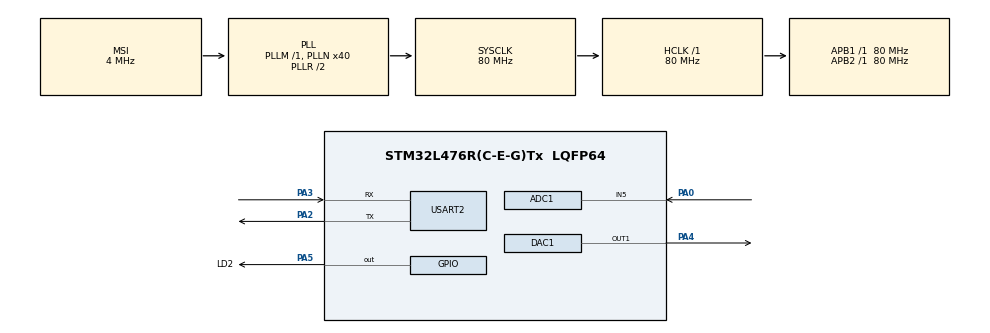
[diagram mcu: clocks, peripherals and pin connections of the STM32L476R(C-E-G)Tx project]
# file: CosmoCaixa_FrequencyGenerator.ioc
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ADC1.Channel-0\#ChannelRegularConversion=ADC_CHANNEL_5
ADC1.ContinuousConvMode=ENABLE
ADC1.DMAContinuousRequests=ENABLE
ADC1.NbrOfConversionFlag=1
ADC1.OffsetNumber-0\#ChannelRegularConversion=ADC_OFFSET_NONE
ADC1.Rank-0\#ChannelRegularConversion=1
ADC1.SamplingTime-0\#ChannelRegularConversion=ADC_SAMPLETIME_2CYCLES_5
ADC1.master=1
DAC1.DAC_SampleAndHold-DAC_OUT1=DAC_SAMPLEANDHOLD_DISABLE
DAC1.DAC_Trigger-DAC_OUT1=DAC_TRIGGER_T2_TRGO
DAC1.DAC_UserTrimming-DAC_OUT1=DAC_TRIMMING_FACTORY
Dma.ADC1.1.Direction=DMA_PERIPH_TO_MEMORY
Dma.ADC1.1.Instance=DMA1_Channel1
Dma.ADC1.1.MemDataAlignment=DMA_MDATAALIGN_WORD
Dma.ADC1.1.MemInc=DMA_MINC_ENABLE
Dma.ADC1.1.Mode=DMA_CIRCULAR
Dma.ADC1.1.PeriphDataAlignment=DMA_PDATAALIGN_WORD
Dma.ADC1.1.PeriphInc=DMA_PINC_DISABLE
Dma.ADC1.1.Priority=DMA_PRIORITY_LOW
Dma.DAC_CH1.0.Direction=DMA_MEMORY_TO_PERIPH
Dma.DAC_CH1.0.Instance=DMA1_Channel3
Dma.DAC_CH1.0.MemDataAlignment=DMA_MDATAALIGN_WORD
Dma.DAC_CH1.0.MemInc=DMA_MINC_ENABLE
Dma.DAC_CH1.0.Mode=DMA_CIRCULAR
Dma.DAC_CH1.0.PeriphDataAlignment=DMA_PDATAALIGN_WORD
Dma.DAC_CH1.0.PeriphInc=DMA_PINC_DISABLE
Dma.DAC_CH1.0.Priority=DMA_PRIORITY_LOW
Dma.Request0=DAC_CH1
Dma.Request1=ADC1
Mcu.Family=STM32L4
Mcu.Name=STM32L476R(C-E-G)Tx
Mcu.Package=LQFP64
NVIC.DMA1_Channel1_IRQn=true\:0\:0\:false\:false\:true\:false\:true
NVIC.DMA1_Channel3_IRQn=true\:0\:0\:false\:false\:true\:false\:true
NVIC.PriorityGroup=NVIC_PRIORITYGROUP_4
NVIC.TIM2_IRQn=true\:0\:0\:false\:false\:true\:true\:true
PA0.Signal=ADCx_IN5
PA2.Mode=Asynchronous
PA2.Signal=USART2_TX
PA3.Mode=Asynchronous
PA3.Signal=USART2_RX
PA4.Signal=COMP_DAC11_group
PA5.GPIO_Label=LD2
PA5.Signal=GPIO_Output
ProjectManager.HeapSize=0x200
ProjectManager.StackSize=0x400
ProjectManager.TargetToolchain=STM32CubeIDE
RCC.ADCFreq_Value=32000000
RCC.AHBFreq_Value=80000000
RCC.APB1Freq_Value=80000000
RCC.APB1TimFreq_Value=80000000
RCC.APB2Freq_Value=80000000
RCC.APB2TimFreq_Value=80000000
RCC.CortexFreq_Value=80000000
RCC.HCLKFreq_Value=80000000
RCC.HSE_VALUE=8000000
RCC.HSI_VALUE=16000000
RCC.LSE_VALUE=32768
RCC.MSI_VALUE=4000000
RCC.PLLN=40
RCC.PLLSAI1N=16
RCC.SYSCLKFreq_VALUE=80000000
RCC.SYSCLKSource=RCC_SYSCLKSOURCE_PLLCLK
RCC.USBFreq_Value=32000000
RCC.VCOOutputFreq_Value=160000000
SH.ADCx_IN5.0=ADC1_IN5,IN5-Single-Ended
SH.COMP_DAC11_group.0=DAC1_OUT1,DAC_OUT1
TIM2.AutoReloadPreload=TIM_AUTORELOAD_PRELOAD_DISABLE
TIM2.Period=10000-1
TIM2.Prescaler=10-1
TIM2.TIM_MasterOutputTrigger=TIM_TRGO_UPDATE
USART2.VirtualMode-Asynchronous=VM_ASYNC
VP_TIM2_VS_ClockSourceINT.Mode=Internal
board=custom

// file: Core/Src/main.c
/* USER CODE BEGIN Header */
/**
  ******************************************************************************
  * @file           : main.c
  * @brief          : Main program body
  ******************************************************************************
  * @attention
  *
  * <h2><center>&copy; Copyright (c) 2021 STMicroelectronics.
  * All rights reserved.</center></h2>
  *
  * This software component is licensed by ST under BSD 3-Clause license,
  * the "License"; You may not use this file except in compliance with the
  * License. You may obtain a copy of the License at:
  *                        opensource.org/licenses/BSD-3-Clause
  *
  ******************************************************************************
  */
/* USER CODE END Header */
#include "main.h"

/* USER CODE BEGIN Includes */
#include "math.h"
#include  <errno.h>
#include  <sys/unistd.h>
/* USER CODE END Includes */

/* USER CODE BEGIN PD */

#define STEADY_OFFSET		2

#define N_SAMPLES 			128

#define ADC_RES 			4096
#define ADC_BUF_LEN 		64
#define ADC_BUF_HALF_LEN	ADC_BUF_LEN / 2

#define MIN_FREQ			1		//1 Hz
#define MAX_FREQ			30		//30 Hz

#define LOW_LEVEL			192		//100mV
#define HIGH_LEVEL			3170	//9.9 Volts

/* USER CODE END PD */

ADC_HandleTypeDef hadc1;
DMA_HandleTypeDef hdma_adc1;

DAC_HandleTypeDef hdac1;
DMA_HandleTypeDef hdma_dac_ch1;

TIM_HandleTypeDef htim2;

UART_HandleTypeDef huart2;

/* USER CODE BEGIN PV */

uint32_t adc_buf[ADC_BUF_LEN];
uint32_t sinewave[N_SAMPLES];
HAL_StatusTypeDef ret;

volatile uint8_t ADC_isHalfCplt = 0;
volatile uint8_t ADC_isCplt = 0;

/* USER CODE END PV */

void SystemClock_Config(void);
static void MX_GPIO_Init(void);
static void MX_DMA_Init(void);
static void MX_DAC1_Init(void);
static void MX_TIM2_Init(void);
static void MX_ADC1_Init(void);
static void MX_USART2_UART_Init(void);
/* USER CODE BEGIN PFP */
float ADC_map(uint32_t x, uint32_t in_min, uint32_t in_max, uint32_t out_min, uint32_t out_max);
uint32_t average(uint32_t *arr, uint32_t N);
void compute_sinewave(void);
uint8_t steady_signal(uint32_t sample);
/* USER CODE END PFP */

/* USER CODE BEGIN 0 */
void compute_sinewave(void){
	for (int i=0; i<N_SAMPLES; i++){
		sinewave[i] = ((sin(i*2*M_PI/N_SAMPLES) + 1)*(4000/2));
	}
}

float ADC_map(uint32_t x, uint32_t in_min, uint32_t in_max, uint32_t out_min, uint32_t out_max) {
	float in_min_f = (float)in_min;
	float in_max_f = (float)in_max;
	float out_min_f = (float)out_min;
	float out_max_f = (float)out_max;
	float res = 0;

	res = (x-in_min_f)*(out_max_f-out_min_f)/(in_max_f-in_min_f) + out_min_f;

	return res;
  //return (uint32_t)(x - in_min) * (out_max - out_min) / (in_max - in_min) + out_min;
}

void compute_ADC_map(uint32_t *arr){

	float freq,tim_arr;

	for(int i=0; i < LOW_LEVEL; i++){
		freq = MIN_FREQ;
		tim_arr = 8000000/(N_SAMPLES*freq);
		arr[(ADC_RES-1)-i] = (uint32_t)tim_arr;
	}

	for(int i=LOW_LEVEL; i < HIGH_LEVEL; i++){
		freq = ADC_map(i, LOW_LEVEL, HIGH_LEVEL, MIN_FREQ, MAX_FREQ);
		tim_arr = 8000000/(N_SAMPLES*freq);
		arr[(ADC_RES-1)-i] = (uint32_t)tim_arr;
	}

	for(int i=HIGH_LEVEL; i < ADC_RES; i++){
		freq = MAX_FREQ;
		tim_arr = 8000000/(N_SAMPLES*freq);
		arr[(ADC_RES-1)-i] = (uint32_t)tim_arr;
	}
}

uint32_t average(uint32_t *arr, uint32_t N){

	int sum = 0;
	for(int i=0; i<N; i++){
		sum = sum + arr[i];
	}

	return sum/N;
}

uint8_t steady_signal(uint32_t sample){

	static uint32_t last_sample = 0;

	if(sample <= last_sample + STEADY_OFFSET && sample >= last_sample - STEADY_OFFSET){
		last_sample = sample;
		return 1;
	}else{
		last_sample = sample;
		return 0;
	}
}

/* USER CODE END 0 */

int main(void)
{
  /* USER CODE BEGIN 1 */

  uint32_t ADC_meanSample 		= 0;
  uint32_t ADC_rawSample		= 0;
  uint32_t ADC_auxBuf[ADC_BUF_HALF_LEN];
  uint32_t wave_period 		= 0;
  uint32_t last_wave_period = 0;

  uint32_t ADC_map[ADC_RES];

  uint32_t len = 0;

  int TIM_isStopped = 0;
  int TIM_onHighFreq = 0;

  int i = 0;
  /* USER CODE END 1 */

  /* MCU Configuration--------------------------------------------------------*/

  /* Reset of all peripherals, Initializes the Flash interface and the Systick. */
  HAL_Init();

  /* Configure the system clock */
  SystemClock_Config();

  /* Initialize all configured peripherals */
  MX_GPIO_Init();
  MX_DMA_Init();
  MX_DAC1_Init();
  MX_TIM2_Init();
  MX_ADC1_Init();
  MX_USART2_UART_Init();
  /* USER CODE BEGIN 2 */
  HAL_ADCEx_Calibration_Start(&hadc1,ADC_SINGLE_ENDED);
  HAL_ADC_Start_DMA(&hadc1, (uint32_t*)adc_buf, ADC_BUF_LEN);
  HAL_TIM_Base_Start(&htim2);

  compute_sinewave();
  compute_ADC_map(ADC_map);

  HAL_DAC_Start_DMA(&hdac1, DAC1_CHANNEL_1, sinewave, N_SAMPLES, DAC_ALIGN_12B_R);

  HAL_Delay(10);

  /* USER CODE END 2 */

  /* Infinite loop */
  /* USER CODE BEGIN WHILE */
  while(1){

	  /*
	   * 	COMPUTE MEAN OF ADC SAMPLES
	   */

	  if(ADC_isHalfCplt){

		  for(i=0; i<ADC_BUF_HALF_LEN; i++){
			  ADC_auxBuf[i] = adc_buf[i];
		  }
		  ADC_meanSample = average(ADC_auxBuf,ADC_BUF_HALF_LEN);
		  ADC_isHalfCplt = 0;
	  }

	  if(ADC_isCplt){

		  for(i=0; i<ADC_BUF_HALF_LEN; i++){
			  ADC_auxBuf[i] = adc_buf[ADC_BUF_HALF_LEN + i];
		  }
		  ADC_meanSample = average(ADC_auxBuf,ADC_BUF_HALF_LEN);
		  ADC_isCplt = 0;
	  }

	  /*
	   * 	CONVERT SAMPLE TO PERIOD
	   */

	  if(ADC_meanSample > LOW_LEVEL){

		  //Check if we come from a '0 Hz state'
		  if(TIM_isStopped){
			  HAL_DAC_Start_DMA(&hdac1, DAC1_CHANNEL_1, sinewave, N_SAMPLES, DAC_ALIGN_12B_R);
			  TIM_isStopped = 0;
		  }

		  //Convert Sample to Period Value
		  wave_period = ADC_map[ADC_RES-ADC_meanSample];
#ifdef PRINT_DEBUG
		  printf("ADC: %ld\tPERIOD: %ld\r\n",ADC_meanSample,wave_period);
#endif
		  //Change Timer Period
		  if(!steady_signal(ADC_meanSample)){
			  htim2.Instance->ARR = (uint32_t)(wave_period - 1);
			  htim2.Instance->EGR = TIM_EGR_UG;
		  }

	  }else if(ADC_meanSample <= LOW_LEVEL && TIM_isStopped == 0){

		  //Disable Timer (0Hz)
		  HAL_DAC_Stop_DMA(&hdac1, DAC1_CHANNEL_1);
		  TIM_isStopped = 1;
	  }

	HAL_Delay(5);

    /* USER CODE END WHILE */

  }
}

void SystemClock_Config(void)
{
  RCC_OscInitTypeDef RCC_OscInitStruct = {0};
  RCC_ClkInitTypeDef RCC_ClkInitStruct = {0};

  /** Configure the main internal regulator output voltage
  */
  if (HAL_PWREx_ControlVoltageScaling(PWR_REGULATOR_VOLTAGE_SCALE1) != HAL_OK)
  {
    Error_Handler();
  }
  /** Initializes the RCC Oscillators according to the specified parameters
  * in the RCC_OscInitTypeDef structure.
  */
  RCC_OscInitStruct.OscillatorType = RCC_OSCILLATORTYPE_MSI;
  RCC_OscInitStruct.MSIState = RCC_MSI_ON;
  RCC_OscInitStruct.MSICalibrationValue = 0;
  RCC_OscInitStruct.MSIClockRange = RCC_MSIRANGE_6;
  RCC_OscInitStruct.PLL.PLLState = RCC_PLL_ON;
  RCC_OscInitStruct.PLL.PLLSource = RCC_PLLSOURCE_MSI;
  RCC_OscInitStruct.PLL.PLLM = 1;
  RCC_OscInitStruct.PLL.PLLN = 40;
  RCC_OscInitStruct.PLL.PLLP = RCC_PLLP_DIV7;
  RCC_OscInitStruct.PLL.PLLQ = RCC_PLLQ_DIV2;
  RCC_OscInitStruct.PLL.PLLR = RCC_PLLR_DIV2;
  if (HAL_RCC_OscConfig(&RCC_OscInitStruct) != HAL_OK)
  {
    Error_Handler();
  }
  /** Initializes the CPU, AHB and APB buses clocks
  */
  RCC_ClkInitStruct.ClockType = RCC_CLOCKTYPE_HCLK|RCC_CLOCKTYPE_SYSCLK
                              |RCC_CLOCKTYPE_PCLK1|RCC_CLOCKTYPE_PCLK2;
  RCC_ClkInitStruct.SYSCLKSource = RCC_SYSCLKSOURCE_PLLCLK;
  RCC_ClkInitStruct.AHBCLKDivider = RCC_SYSCLK_DIV1;
  RCC_ClkInitStruct.APB1CLKDivider = RCC_HCLK_DIV1;
  RCC_ClkInitStruct.APB2CLKDivider = RCC_HCLK_DIV1;

  if (HAL_RCC_ClockConfig(&RCC_ClkInitStruct, FLASH_LATENCY_4) != HAL_OK)
  {
    Error_Handler();
  }
}

static void MX_ADC1_Init(void)
{

  ADC_MultiModeTypeDef multimode = {0};
  ADC_ChannelConfTypeDef sConfig = {0};

  /** Common config
  */
  hadc1.Instance = ADC1;
  hadc1.Init.ClockPrescaler = ADC_CLOCK_ASYNC_DIV1;
  hadc1.Init.Resolution = ADC_RESOLUTION_12B;
  hadc1.Init.DataAlign = ADC_DATAALIGN_RIGHT;
  hadc1.Init.ScanConvMode = ADC_SCAN_DISABLE;
  hadc1.Init.EOCSelection = ADC_EOC_SINGLE_CONV;
  hadc1.Init.LowPowerAutoWait = DISABLE;
  hadc1.Init.ContinuousConvMode = ENABLE;
  hadc1.Init.NbrOfConversion = 1;
  hadc1.Init.DiscontinuousConvMode = DISABLE;
  hadc1.Init.ExternalTrigConv = ADC_SOFTWARE_START;
  hadc1.Init.ExternalTrigConvEdge = ADC_EXTERNALTRIGCONVEDGE_NONE;
  hadc1.Init.DMAContinuousRequests = ENABLE;
  hadc1.Init.Overrun = ADC_OVR_DATA_PRESERVED;
  hadc1.Init.OversamplingMode = DISABLE;
  if (HAL_ADC_Init(&hadc1) != HAL_OK)
  {
    Error_Handler();
  }
  /** Configure the ADC multi-mode
  */
  multimode.Mode = ADC_MODE_INDEPENDENT;
  if (HAL_ADCEx_MultiModeConfigChannel(&hadc1, &multimode) != HAL_OK)
  {
    Error_Handler();
  }
  /** Configure Regular Channel
  */
  sConfig.Channel = ADC_CHANNEL_5;
  sConfig.Rank = ADC_REGULAR_RANK_1;
  sConfig.SamplingTime = ADC_SAMPLETIME_2CYCLES_5;
  sConfig.SingleDiff = ADC_SINGLE_ENDED;
  sConfig.OffsetNumber = ADC_OFFSET_NONE;
  sConfig.Offset = 0;
  if (HAL_ADC_ConfigChannel(&hadc1, &sConfig) != HAL_OK)
  {
    Error_Handler();
  }

}

static void MX_DAC1_Init(void)
{

  DAC_ChannelConfTypeDef sConfig = {0};

  /** DAC Initialization
  */
  hdac1.Instance = DAC1;
  if (HAL_DAC_Init(&hdac1) != HAL_OK)
  {
    Error_Handler();
  }
  /** DAC channel OUT1 config
  */
  sConfig.DAC_SampleAndHold = DAC_SAMPLEANDHOLD_DISABLE;
  sConfig.DAC_Trigger = DAC_TRIGGER_T2_TRGO;
  sConfig.DAC_OutputBuffer = DAC_OUTPUTBUFFER_ENABLE;
  sConfig.DAC_ConnectOnChipPeripheral = DAC_CHIPCONNECT_DISABLE;
  sConfig.DAC_UserTrimming = DAC_TRIMMING_FACTORY;
  if (HAL_DAC_ConfigChannel(&hdac1, &sConfig, DAC_CHANNEL_1) != HAL_OK)
  {
    Error_Handler();
  }

}

static void MX_TIM2_Init(void)
{

  TIM_ClockConfigTypeDef sClockSourceConfig = {0};
  TIM_MasterConfigTypeDef sMasterConfig = {0};

  htim2.Instance = TIM2;
  htim2.Init.Prescaler = 10-1;
  htim2.Init.CounterMode = TIM_COUNTERMODE_UP;
  htim2.Init.Period = 10000-1;
  htim2.Init.ClockDivision = TIM_CLOCKDIVISION_DIV1;
  htim2.Init.AutoReloadPreload = TIM_AUTORELOAD_PRELOAD_DISABLE;
  if (HAL_TIM_Base_Init(&htim2) != HAL_OK)
  {
    Error_Handler();
  }
  sClockSourceConfig.ClockSource = TIM_CLOCKSOURCE_INTERNAL;
  if (HAL_TIM_ConfigClockSource(&htim2, &sClockSourceConfig) != HAL_OK)
  {
    Error_Handler();
  }
  sMasterConfig.MasterOutputTrigger = TIM_TRGO_UPDATE;
  sMasterConfig.MasterSlaveMode = TIM_MASTERSLAVEMODE_DISABLE;
  if (HAL_TIMEx_MasterConfigSynchronization(&htim2, &sMasterConfig) != HAL_OK)
  {
    Error_Handler();
  }

}

static void MX_USART2_UART_Init(void)
{

  huart2.Instance = USART2;
  huart2.Init.BaudRate = 115200;
  huart2.Init.WordLength = UART_WORDLENGTH_8B;
  huart2.Init.StopBits = UART_STOPBITS_1;
  huart2.Init.Parity = UART_PARITY_NONE;
  huart2.Init.Mode = UART_MODE_TX_RX;
  huart2.Init.HwFlowCtl = UART_HWCONTROL_NONE;
  huart2.Init.OverSampling = UART_OVERSAMPLING_16;
  huart2.Init.OneBitSampling = UART_ONE_BIT_SAMPLE_DISABLE;
  huart2.AdvancedInit.AdvFeatureInit = UART_ADVFEATURE_NO_INIT;
  if (HAL_UART_Init(&huart2) != HAL_OK)
  {
    Error_Handler();
  }

}

static void MX_DMA_Init(void)
{

  /* DMA controller clock enable */
  __HAL_RCC_DMA1_CLK_ENABLE();

  /* DMA interrupt init */
  /* DMA1_Channel1_IRQn interrupt configuration */
  HAL_NVIC_SetPriority(DMA1_Channel1_IRQn, 0, 0);
  HAL_NVIC_EnableIRQ(DMA1_Channel1_IRQn);
  /* DMA1_Channel3_IRQn interrupt configuration */
  HAL_NVIC_SetPriority(DMA1_Channel3_IRQn, 0, 0);
  HAL_NVIC_EnableIRQ(DMA1_Channel3_IRQn);

}

static void MX_GPIO_Init(void)
{
  GPIO_InitTypeDef GPIO_InitStruct = {0};

  /* GPIO Ports Clock Enable */
  __HAL_RCC_GPIOA_CLK_ENABLE();

  /*Configure GPIO pin Output Level */
  HAL_GPIO_WritePin(LD2_GPIO_Port, LD2_Pin, GPIO_PIN_RESET);

  /*Configure GPIO pin : LD2_Pin */
  GPIO_InitStruct.Pin = LD2_Pin;
  GPIO_InitStruct.Mode = GPIO_MODE_OUTPUT_PP;
  GPIO_InitStruct.Pull = GPIO_NOPULL;
  GPIO_InitStruct.Speed = GPIO_SPEED_FREQ_LOW;
  HAL_GPIO_Init(LD2_GPIO_Port, &GPIO_InitStruct);

}

/* USER CODE BEGIN 4 */

void HAL_ADC_ConvHalfCpltCallback(ADC_HandleTypeDef* hadc){

	ADC_isHalfCplt = 1;
}

void HAL_ADC_ConvCpltCallback(ADC_HandleTypeDef* hadc){

	ADC_isCplt = 1;
}

#ifdef PRINT_DEBUG
int _write(int file, char *data, int len)
{
   if ((file != STDOUT_FILENO) && (file != STDERR_FILENO))
   {
      errno = EBADF;
      return -1;
   }

   // arbitrary timeout 1000
   HAL_StatusTypeDef status =
      HAL_UART_Transmit(&huart2, (uint8_t*)data, len, 1000);

   // return # of bytes written - as best we can tell
   return (status == HAL_OK ? len : 0);
}
#endif
/* USER CODE END 4 */

void Error_Handler(void)
{
  __disable_irq();
  while (1)
  {
  }
}

/************************ (C) COPYRIGHT STMicroelectronics *****END OF FILE****/
